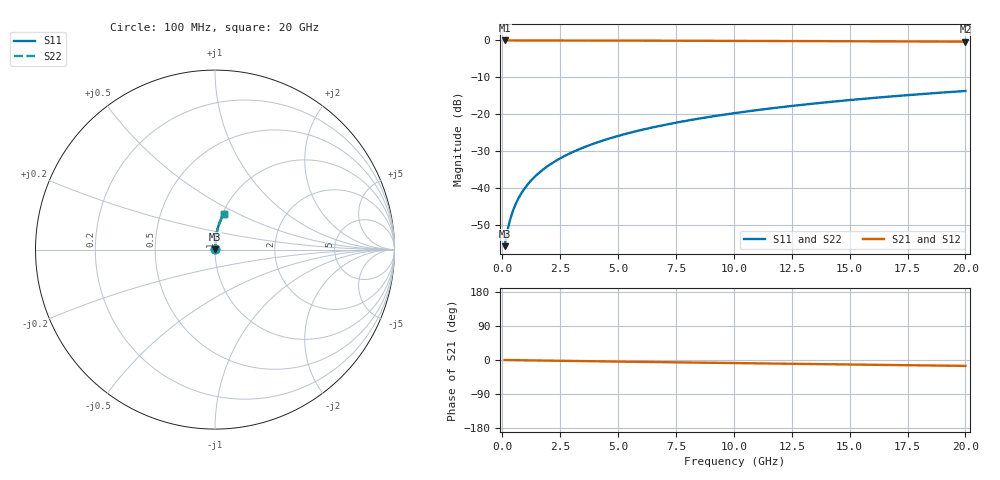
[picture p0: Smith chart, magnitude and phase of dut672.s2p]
! Touchstone file exported from HFSS 2024.1.0
!  File:  C:/UserFiles/LocalFiles/RDL_TSV_Batchsim/temp_RDL_top_672_1779782145.aedt
!  Generated:  03:58:19 PM May 26, 2026
!  Design:  RDL_top
!  Project:  temp_RDL_top_672_1779782145
!  Setup:  Setup1
!  Solution:  Sweep
! Variables:
!  dtsv = 10.80580581um
!  hbump = 3um
!  htsv = 98.65um
!  ldown = 100um
!  lrdl = 147.16um
!  p = 40
!  p1 = 56.18um
!  rhole = 1um
!  t = 450um
!  tdown = 3.915915916um
!  trdl = 3.27um
!  wdown = 15.38538539um
!  wrdl = 15.17um
# GHz S MA R 50.000000
! Terminal data exported
! Port[1] = Box2_T1
! Port[2] = Box2_T2
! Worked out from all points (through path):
!   200 points, 100 MHz to 20 GHz, reference 50 ohm
!   highest |S21| = -0.01 dB at 100 MHz (marker M1); lowest = -0.3 dB at 20 GHz (marker M2)
!   group delay of S21, straight-line fit = 2.15 ps
!   lowest |S11| = -55.8 dB at 100 MHz (marker M3), VSWR 1.00, Z = 50.1 + j0.105 ohm
!   |S11| at or under -10 dB: start of sweep to end of sweep
!   |S22| runs from -55.8 to -13.7 dB; largest |S21 - S12| = 3.6e-15
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0.1  0.00163 39.9  0.9987 -0.1  0.9987 -0.1  0.00163 39.9
! Gamma 0 0 0 0
! Port Impedance 50 0 50 0
0.2  0.002441 58.5  0.9987 -0.2  0.9987 -0.2  0.002441 58.5
0.3  0.00337 67.2  0.9987 -0.3  0.9987 -0.3  0.00337 67.2
0.4  0.004333 72.0  0.9986 -0.3  0.9986 -0.3  0.004333 72.0
0.5  0.005308 75.1  0.9986 -0.4  0.9986 -0.4  0.005308 75.1
0.6  0.006288 77.2  0.9986 -0.5  0.9986 -0.5  0.006288 77.2
0.8  0.008255 79.9  0.9985 -0.7  0.9985 -0.7  0.008255 79.9
1.1  0.01122 82.3  0.9983 -0.9  0.9983 -0.9  0.01122 82.3
1.5  0.01521 84.0  0.9981 -1.3  0.9981 -1.3  0.01521 84.0
1.8  0.01821 84.7  0.998 -1.5  0.998 -1.5  0.01821 84.7
2.1  0.02122 85.2  0.9978 -1.8  0.9978 -1.8  0.02122 85.2
2.7  0.02727 85.9  0.9973 -2.3  0.9973 -2.3  0.02727 85.9
3.5  0.03539 86.2  0.9964 -2.9  0.9964 -2.9  0.03539 86.2
4.2  0.04255 86.3  0.9956 -3.5  0.9956 -3.5  0.04255 86.3
5  0.05078 86.2  0.9945 -4.2  0.9945 -4.2  0.05078 86.2
5.9  0.0601 85.9  0.9931 -4.9  0.9931 -4.9  0.0601 85.9
6.8  0.06949 85.5  0.9916 -5.6  0.9916 -5.6  0.06949 85.5
8.3  0.08522 84.8  0.9889 -6.8  0.9889 -6.8  0.08522 84.8
10.1  0.1042 83.6  0.9854 -8.2  0.9854 -8.2  0.1042 83.6
13.4  0.1389 81.3  0.9785 -10.7  0.9785 -10.7  0.1389 81.3
16.7  0.1731 78.9  0.971 -13.1  0.971 -13.1  0.1731 78.9
20  0.2066 76.4  0.9629 -15.5  0.9629 -15.5  0.2066 76.4
